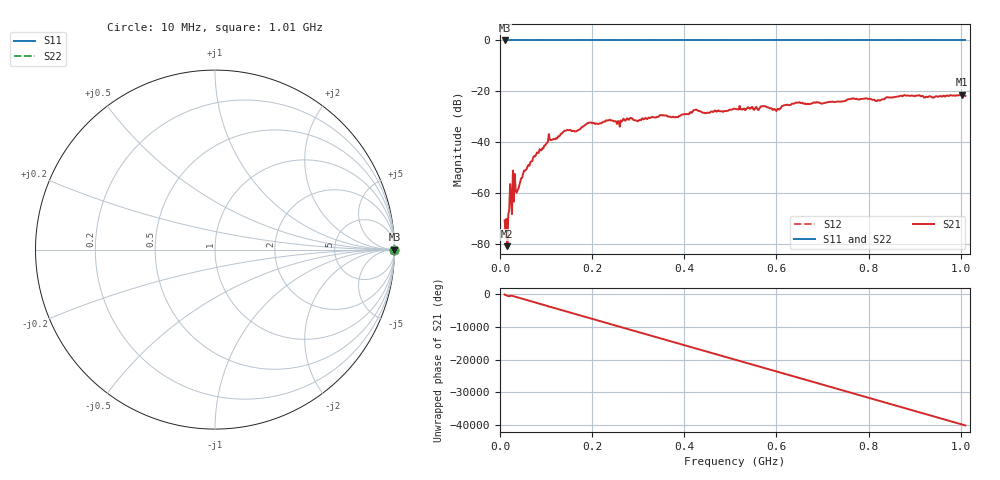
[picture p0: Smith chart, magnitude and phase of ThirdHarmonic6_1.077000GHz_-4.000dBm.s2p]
! 8/16/2025 9:50:25 AM
! C:\ANRITSUVNA\TEMP\TEMP.S2P
! CHANNEL.1
! TR.MEASUREMENT
! RAW.DATA
! RF.CORRECTION.OFF
! AVERAGING.OFF
! IF.BANDWIDTH: 5KHZ
! SWEEPTYPE:  FREQ.SWEEP(Linear)
! Reference Plane Port Info
! PORT:  PORT1  PORT2
! DISTANCE:  0  m  0  m
! TIME:  0  s  0  s
! PHASE.OFFSET:  0  deg.  0  deg.
! LOSS:  0  dB  0  dB
! REF.LOSS:  0  dB  0  dB
! REF.FREQ:  0  Hz  0  Hz
! Power Info
! POWER:  -20  dBm  -20  dBm
! EFF.POWER:  -20  dBm  -20  dBm
! SOURCE.ATTEN:  0  dB  0  dB
! TEST.ATTEN:  0  dB  0  dB
# GHZ S RI R 50.0
! FREQ.GHZ  S11RE  S11IM  S21RE  S21IM  S12RE  S12IM  S22RE  S22IM
!; PortSelection: Port_12
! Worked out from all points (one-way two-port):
!   501 points, 10 MHz to 1.01 GHz, reference 50 ohm
!   highest |S21| = -21.30 dB at 1.002 GHz (marker M1); lowest = -80.9 dB at 16 MHz (marker M2)
!   lowest |S11| = 0.0 dB at 10 MHz (marker M3)
!   |S11| at or under -10 dB: nowhere
!   |S22| runs from 0.0 to 0.0 dB; largest |S21 - S12| = 1.1
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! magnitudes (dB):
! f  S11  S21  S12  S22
! 10 MHz  0.0  -70.8  0.0  0.0
! 12 MHz  0.0  -74.5  0.0  0.0
! 16 MHz  0.0  -80.9  0.0  0.0
! 24 MHz  0.0  -61.0  0.0  0.0
! 32 MHz  0.0  -52.5  0.0  0.0
! 38 MHz  0.0  -58.9  0.0  0.0
! 50 MHz  0.0  -52.7  0.0  0.0
! 76 MHz  0.0  -45.7  0.0  0.0
! 106 MHz  0.0  -36.8  0.0  0.0
! 142 MHz  0.0  -35.6  0.0  0.0
! 178 MHz  0.0  -34.0  0.0  0.0
! 194 MHz  0.0  -32.3  0.0  0.0
! 256 MHz  0.0  -31.7  0.0  0.0
! 344 MHz  0.0  -30.0  0.0  0.0
! 510 MHz  0.0  -26.9  0.0  0.0
! 572 MHz  0.0  -25.9  0.0  0.0
! 602 MHz  0.0  -27.0  0.0  0.0
! 646 MHz  0.0  -24.5  0.0  0.0
! 678 MHz  0.0  -24.7  0.0  0.0
! 844 MHz  0.0  -22.4  0.0  0.0
! 1.002 GHz  0.0  -21.3  0.0  0.0
! 1.01 GHz  0.0  -21.8  0.0  0.0
